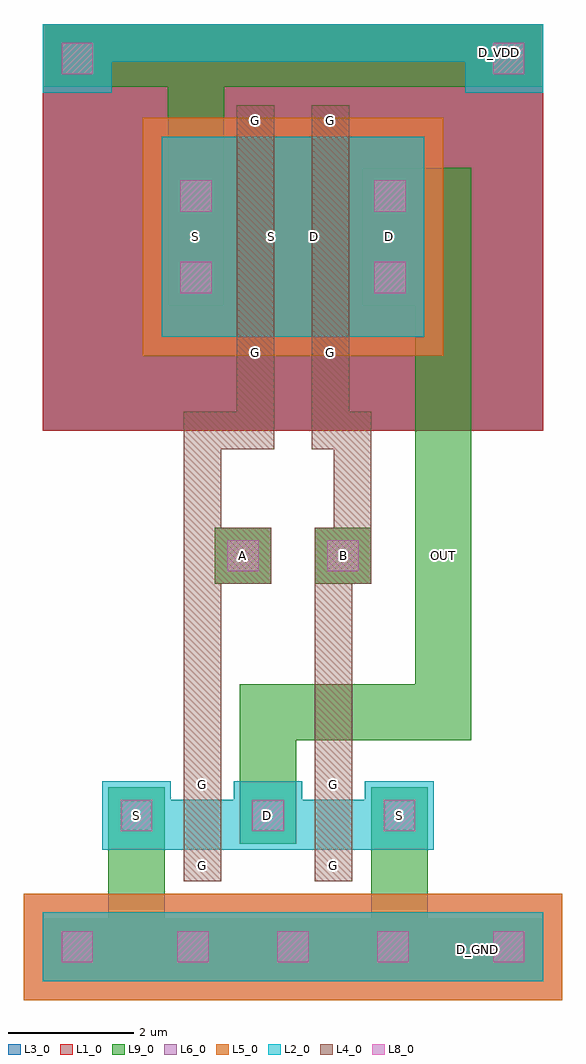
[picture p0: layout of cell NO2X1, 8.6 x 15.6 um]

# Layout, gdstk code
import gdstk
lib = gdstk.Library(unit=1e-6, precision=1e-09)
def R(c, l, rs):  # rectangles x0, y0, x1, y1
    for r in rs: c.add(gdstk.rectangle(r[:2], r[2:], *l))
def A(c, l, x, y, w, h, nx, ny, dx, dy):  # array of equal rectangles
    R(c, l, [(x+i*dx, y+j*dy, x+i*dx+w, y+j*dy+h) for i in range(nx) for j in range(ny)])
def P(c, l, *ps):  # polygons
    for p in ps: c.add(gdstk.Polygon(p, *l))
L1_0 = (1, 0)
L2_0 = (2, 0)
L3_0 = (3, 0)
L4_0 = (4, 0)
L5_0 = (5, 0)
L6_0 = (6, 0)
L8_0 = (8, 0)
L9_0 = (9, 0)

grid_pmos_end = lib.new_cell('GRID_PMOS_END')
R(grid_pmos_end, L2_0, [(-0.55,-0.55,0.55,0.55)])
R(grid_pmos_end, L5_0, [(-0.85,-0.85,0.85,0.85)])
R(grid_pmos_end, L6_0, [(-0.85,-0.85,0.85,0.85)])
R(grid_pmos_end, L8_0, [(-0.25,-0.25,0.25,0.25)])
R(grid_pmos_end, L9_0, [(-0.55,-0.55,0.55,0.45)])

no2x1 = lib.new_cell('NO2X1')
A(no2x1, L1_0, 0, 8.8, 1.6, 6.5, 5, 1, 1.6, 0)
R(no2x1, L1_0, [(0.4,8.8,6.4,15), (1.6,8.8,7.6,15)])
A(no2x1, L2_0, 0, 0, 1.6, 1.1, 5, 1, 1.6, 0)
R(no2x1, L2_0, [(0.95,2.1,2.05,3.2), (2.05,2.1,3.05,2.9), (3.05,2.1,4.15,3.2), (3.05,2.1,4.15,3.2), (4.15,2.1,5.15,2.9), (5.15,2.1,6.25,3.2), (1.9,10.3,3,13.5), (3,10.3,3.8,13.5), (3.1,10.3,4.2,13.5), (3.8,10.3,4.9,13.5), (4.2,10.3,5,13.5), (5,10.3,6.1,13.5), (1.9,12.4,2.9,13.35), (0,14.2,1.1,15.3), (6.75,14.2,8,14.3), (6.75,14.3,8,15.3), (1,14.7,1.6,15.3), (6.4,14.7,6.75,15.3)])
A(no2x1, L3_0, 0, 8.8, 1.6, 6.5, 5, 1, 1.6, 0)
R(no2x1, L3_0, [(0.4,8.8,6.4,15), (1.6,8.8,7.6,15)])
R(no2x1, L4_0, [(2.25,1.6,2.85,2.1), (2.25,1.6,2.85,3.4), (4.35,1.6,4.95,2.1), (4.35,1.6,4.95,3.4), (2.25,2.9,2.85,3.4), (4.35,2.9,4.95,3.4), (2.75,6.35,3.65,7.25), (4.35,6.35,5.25,7.25), (3.1,9.8,3.7,14), (3.1,9.8,3.7,10.3), (4.3,9.8,4.9,14), (4.3,9.8,4.9,10.3), (3.1,13.5,3.7,14), (4.3,13.5,4.9,14)])
A(no2x1, L5_0, 0, -0.3, 1.6, 1.7, 5, 1, 1.6, 0)
R(no2x1, L5_0, [(1.6,10,5.2,13.8), (2.8,10,6.4,13.8)])
A(no2x1, L6_0, 0, -0.3, 1.6, 1.7, 5, 1, 1.6, 0)
R(no2x1, L6_0, [(1.6,10,5.2,13.8), (2.8,10,6.4,13.8)])
A(no2x1, L8_0, 2.15, 0.3, 0.5, 0.5, 3, 1, 1.6, 0)
R(no2x1, L8_0, [(1.25,2.4,1.75,2.9), (3.35,2.4,3.85,2.9), (3.35,2.4,3.85,2.9), (5.45,2.4,5.95,2.9), (2.95,6.55,3.45,7.05), (4.55,6.55,5.05,7.05), (2.2,11,2.7,11.5), (5.3,11,5.8,11.5), (2.2,12.3,2.7,12.8), (5.3,12.3,5.8,12.8), (0.3,14.5,0.8,15), (7.2,14.5,7.7,15)])
A(no2x1, L9_0, 0, 0, 1.6, 1, 5, 2, 1.6, 14.3)
R(no2x1, L9_0, [(1.45,0,5.75,0.9), (1.05,0.2,1.95,3.1), (5.25,0.2,6.15,3.1), (5.65,0.2,6.75,0.8), (6.65,0.2,7.25,0.8), (1.05,2.2,1.95,3.1), (3.15,2.2,4.05,3.1), (3.15,2.2,4.05,3.1), (5.25,2.2,6.15,3.1), (2.75,6.35,3.65,7.25), (2.75,6.35,3.65,7.25), (4.35,6.35,5.25,7.25), (4.35,6.35,5.25,7.25), (5.95,6.35,6.85,7.25), (2,10.8,2.9,13), (5.1,10.8,6,13), (7,14.55,7.6,15.15)])
P(no2x1, L9_0, [(3.15,2.2),(4.05,2.2),(4.05,3.85),(6.85,3.85),(6.85,7.25),(5.95,7.25),(5.95,4.75),(3.15,4.75)])
no2x1.add(gdstk.FlexPath([(1.6,15),(6.4,15)], 0.6, ends="flush", simple_path=True, layer=2, datatype=0))  # L2_0
no2x1.add(gdstk.FlexPath([(1.95,14.75),(7.2,14.75)], 0.6, ends="flush", simple_path=True, layer=9, datatype=0))  # L9_0
no2x1.add(gdstk.FlexPath([(2.45,13),(2.45,15)], 0.9, ends="flush", simple_path=True, layer=9, datatype=0))  # L9_0
no2x1.add(gdstk.FlexPath([(6.4,7.2),(6.4,13)], 0.9, ends="flush", simple_path=True, layer=9, datatype=0))  # L9_0
no2x1.add(gdstk.FlexPath([(2.55,3.4),(2.55,7.25)], 0.6, ends="flush", simple_path=True, layer=4, datatype=0))  # L4_0
no2x1.add(gdstk.FlexPath([(3.4,9.8),(3.4,8.8),(2.55,8.8),(2.55,7.2)], 0.6, ends="flush", simple_path=True, layer=4, datatype=0))  # L4_0
no2x1.add(gdstk.FlexPath([(4.6,9.8),(4.6,8.8),(4.95,8.8),(4.95,6.75)], 0.6, ends="flush", simple_path=True, layer=4, datatype=0))  # L4_0
no2x1.add(gdstk.FlexPath([(4.65,3.15),(4.65,6.9)], 0.6, ends="flush", simple_path=True, layer=4, datatype=0))  # L4_0
no2x1.add(gdstk.Reference(grid_pmos_end, (7.45,0.55)))
no2x1.add(gdstk.Reference(grid_pmos_end, (0.55,0.55)))
no2x1.add(gdstk.Label('G', (3.4,10.052), layer=4, texttype=0))
no2x1.add(gdstk.Label('G', (3.4,13.752), layer=4, texttype=0))
no2x1.add(gdstk.Label('S', (2.449,11.901), layer=9, texttype=0))
no2x1.add(gdstk.Label('D', (4.349,11.901), layer=2, texttype=0))
no2x1.add(gdstk.Label('G', (4.6,10.052), layer=4, texttype=0))
no2x1.add(gdstk.Label('G', (4.6,13.752), layer=4, texttype=0))
no2x1.add(gdstk.Label('S', (3.649,11.901), layer=2, texttype=0))
no2x1.add(gdstk.Label('D', (5.549,11.901), layer=9, texttype=0))
no2x1.add(gdstk.Label('G', (2.55,1.852), layer=4, texttype=0))
no2x1.add(gdstk.Label('G', (2.55,3.152), layer=4, texttype=0))
no2x1.add(gdstk.Label('S', (1.499,2.651), layer=9, texttype=0))
no2x1.add(gdstk.Label('D', (3.599,2.651), layer=9, texttype=0))
no2x1.add(gdstk.Label('G', (4.65,1.852), layer=4, texttype=0))
no2x1.add(gdstk.Label('G', (4.65,3.152), layer=4, texttype=0))
no2x1.add(gdstk.Label('S', (5.701,2.651), layer=9, texttype=0))
no2x1.add(gdstk.Label('D', (3.601,2.651), layer=9, texttype=0))
no2x1.add(gdstk.Label('OUT', (6.4,6.8), layer=50, texttype=0))
no2x1.add(gdstk.Label('D_VDD', (7.3,14.85), layer=50, texttype=0))
no2x1.add(gdstk.Label('D_GND', (6.95,0.5), layer=50, texttype=0))
no2x1.add(gdstk.Label('B', (4.8,6.8), layer=50, texttype=0))
no2x1.add(gdstk.Label('A', (3.2,6.8), layer=50, texttype=0))

lib.write_gds('NO2X1.gds')
